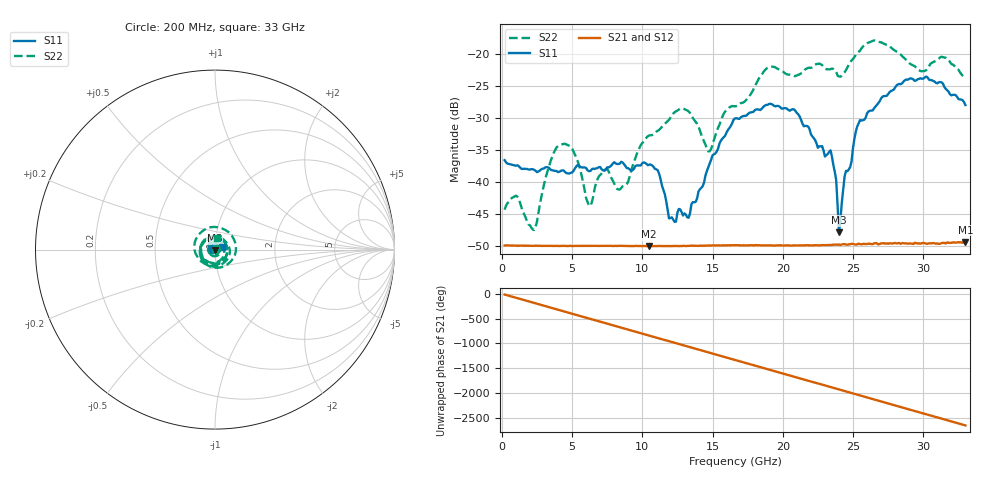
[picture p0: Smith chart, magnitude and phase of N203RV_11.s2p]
# GHZ S RI R 50
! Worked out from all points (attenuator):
!   329 points, 200 MHz to 33 GHz, reference 50 ohm
!   highest |S21| = -49.44 dB at 33 GHz (marker M1); lowest = -50.1 dB at 10.5 GHz (marker M2)
!   lowest |S11| = -47.9 dB at 24 GHz (marker M3), VSWR 1.01, Z = 50 - j0.4 ohm
!   |S11| at or under -10 dB: start of sweep to end of sweep
!   |S22| runs from -47.5 to -17.9 dB; largest |S21 - S12| = 7.2e-05
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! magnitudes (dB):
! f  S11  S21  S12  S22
! 200 MHz  -36.6  -50.0  -50.0  -44.4
! 2.3 GHz  -38.1  -50.0  -50.0  -47.5
! 4 GHz  -38.5  -50.1  -50.0  -34.4
! 5.7 GHz  -37.8  -50.0  -50.0  -39.2
! 6.3 GHz  -38.3  -50.0  -50.0  -43.8
! 7.4 GHz  -38.1  -50.0  -50.0  -38.0
! 8.4 GHz  -37.2  -50.0  -50.0  -41.2
! 10.5 GHz  -37.3  -50.1  -50.1  -32.7
! 11.2 GHz  -38.8  -50.1  -50.0  -31.9
! 11.9 GHz  -45.7  -50.1  -50.1  -30.3
! 13.3 GHz  -45.6  -50.0  -50.0  -29.0
! 14.8 GHz  -37.2  -50.0  -50.0  -35.2
! 16.6 GHz  -30.1  -49.9  -49.9  -28.2
! 19.1 GHz  -27.8  -50.0  -50.0  -22.0
! 22.1 GHz  -32.9  -50.0  -49.9  -22.1
! 23.4 GHz  -35.1  -49.9  -49.9  -22.4
! 23.8 GHz  -39.7  -49.8  -49.8  -22.8
! 24 GHz  -47.9  -49.8  -49.8  -23.5
! 24.4 GHz  -39.2  -49.8  -49.7  -22.9
! 25.3 GHz  -31.4  -49.8  -49.8  -19.9
! 27.6 GHz  -26.0  -49.6  -49.6  -18.8
! 33 GHz  -28.0  -49.4  -49.4  -23.7
